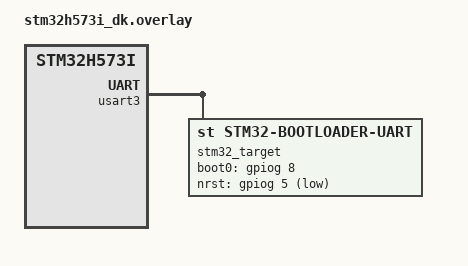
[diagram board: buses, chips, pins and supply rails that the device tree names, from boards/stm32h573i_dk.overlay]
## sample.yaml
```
sample:
  name: STM32 Bootloader UART
  description: |
    Demonstrates programming a target STM32 via its UART system bootloader
    using the AN3155 protocol.
tests:
  sample.drivers.stm32_bootloader_uart:
    tags:
      - drivers
      - misc
    depends_on:
      - gpio
      - serial
    filter: dt_compat_enabled("st,stm32-bootloader-uart")
```

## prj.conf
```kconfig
CONFIG_GPIO=y
CONFIG_SERIAL=y
CONFIG_STM32_BOOTLOADER=y
CONFIG_LOG=y
```

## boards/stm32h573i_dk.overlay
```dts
/*
 * SPDX-License-Identifier: Apache-2.0
 */

&usart3 {
	stm32_target: stm32-bootloader-uart {
		compatible = "st,stm32-bootloader-uart";
		boot0-gpios = <&gpiog 8 GPIO_ACTIVE_HIGH>;
		nrst-gpios  = <&gpiog 5 GPIO_ACTIVE_LOW>;
	};
};
```

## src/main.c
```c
/*
 * Copyright (c) 2025 Contributors to the Zephyr Project
 *
 * SPDX-License-Identifier: Apache-2.0
 */

/**
 * @file
 * @brief Sample application for the STM32 USART system bootloader driver.
 *
 * Demonstrates how to program a target STM32 via its built-in USART system
 * bootloader (AN3155). The sample enters bootloader mode, reads target
 * information, performs a mass erase, writes a small test pattern, verifies
 * the written data, and finally starts execution on the target.
 */

#include <zephyr/kernel.h>
#include <zephyr/device.h>
#include <zephyr/drivers/misc/stm32_bootloader/stm32_bootloader.h>
#include <zephyr/logging/log.h>

LOG_MODULE_REGISTER(main, LOG_LEVEL_INF);

/** Base address of the target STM32 internal flash. */
#define TARGET_FLASH_BASE 0x08000000

/** Bootloader device instance obtained from the devicetree. */
static const struct device *const bl_dev = DEVICE_DT_GET(DT_NODELABEL(stm32_target));

/**
 * @brief Progress callback invoked after each write chunk.
 *
 * @param written   Number of bytes written so far.
 * @param total     Total number of bytes to write.
 * @param user_data User-supplied context (unused).
 */
static void progress_cb(size_t written, size_t total, void *user_data)
{
	unsigned int pct = (unsigned int)((written * 100U) / total);

	LOG_INF("Progress: %u/%u bytes (%u%%)", (unsigned int)written, (unsigned int)total, pct);
}

int main(void)
{
	struct stm32_bootloader_info info;
	int ret;

	if (!device_is_ready(bl_dev)) {
		LOG_ERR("Bootloader device not ready");
		return -ENODEV;
	}

	LOG_INF("=== STM32 USART Bootloader Sample ===");

	/* Step 1: Enter bootloader mode */
	LOG_INF("Entering bootloader...");
	ret = stm32_bootloader_enter(bl_dev);
	if (ret < 0) {
		LOG_ERR("Failed to enter bootloader: %d", ret);
		return ret;
	}

	/* Step 2: Read target info */
	LOG_INF("Reading target info...");
	ret = stm32_bootloader_get_info(bl_dev, &info);
	if (ret < 0) {
		LOG_ERR("Failed to get info: %d", ret);
		return ret;
	}

	LOG_INF("Target: PID=0x%04x, BL v%d.%d, extended_erase=%d", info.pid, info.bl_version >> 4,
		info.bl_version & 0x0F, info.has_extended_erase);

	/* Step 3: Mass erase */
	LOG_INF("Erasing target flash...");
	ret = stm32_bootloader_mass_erase(bl_dev);
	if (ret < 0) {
		LOG_ERR("Mass erase failed: %d", ret);
		return ret;
	}

	/*
	 * Step 4: Write firmware.
	 *
	 * To use stm32_bootloader_program_partition(), you need a valid flash
	 * partition with firmware data and its flash area ID. For this sample,
	 * we demonstrate with a small test pattern instead.
	 */
	static const uint8_t test_data[] = {
		/* Minimal ARM vector table: initial SP and reset handler */
		0x00,
		0x00,
		0x02,
		0x20, /* SP = 0x20020000 */
		0x09,
		0x00,
		0x00,
		0x08, /* Reset = 0x08000009 */
		/* Thumb: infinite loop (b .) */
		0xFE,
		0xE7,
	};

	LOG_INF("Writing test data (%zu bytes)...", sizeof(test_data));
	ret = stm32_bootloader_write(bl_dev, TARGET_FLASH_BASE, test_data, sizeof(test_data),
				     progress_cb, NULL);
	if (ret < 0) {
		LOG_ERR("Write failed: %d", ret);
		return ret;
	}

	/* Step 5: Verify */
	LOG_INF("Verifying...");
	ret = stm32_bootloader_verify(bl_dev, TARGET_FLASH_BASE, test_data, sizeof(test_data));
	if (ret < 0) {
		LOG_ERR("Verify failed: %d", ret);
		return ret;
	}

	/* Step 6: Go */
	LOG_INF("Jumping to 0x%08x...", TARGET_FLASH_BASE);
	ret = stm32_bootloader_go(bl_dev, TARGET_FLASH_BASE);
	if (ret < 0) {
		LOG_ERR("Go failed: %d", ret);
		return ret;
	}

	/* Step 7: Reset target */
	LOG_INF("Reset target");
	ret = stm32_bootloader_exit(bl_dev, true);
	if (ret < 0) {
		LOG_ERR("Reset failed: %d", ret);
		return ret;
	}

	LOG_INF("=== Done! Target should be running. ===");
	return 0;
}
```
